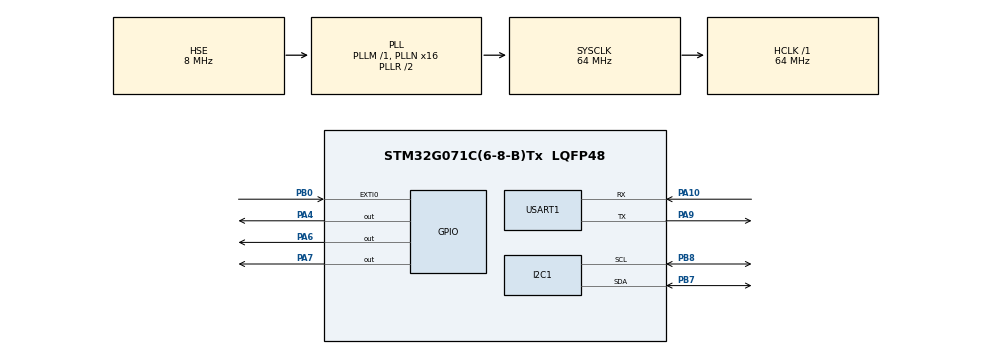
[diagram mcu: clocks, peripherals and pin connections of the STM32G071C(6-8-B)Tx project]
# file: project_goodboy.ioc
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I2C1.OwnAddress=0x12
I2C1.Timing=0x10B17DB5
Mcu.Family=STM32G0
Mcu.Name=STM32G071C(6-8-B)Tx
Mcu.Package=LQFP48
NVIC.EXTI0_1_IRQn=true\:0\:0\:false\:false\:true\:true\:true\:true
NVIC.I2C1_IRQn=true\:0\:0\:false\:false\:true\:true\:true\:true
NVIC.TIM3_IRQn=true\:0\:0\:false\:false\:true\:true\:true\:true
NVIC.TIM6_DAC_LPTIM1_IRQn=true\:3\:0\:false\:false\:true\:false\:true\:true
NVIC.TimeBase=TIM6_DAC_LPTIM1_IRQn
NVIC.TimeBaseIP=TIM6
PA10.Mode=Asynchronous
PA10.Signal=USART1_RX
PA13.Mode=Serial_Wire
PA13.Signal=SYS_SWDIO
PA14-BOOT0.Mode=Serial_Wire
PA14-BOOT0.Signal=SYS_SWCLK
PA4.Signal=GPIO_Output
PA6.GPIO_Speed=GPIO_SPEED_FREQ_HIGH
PA6.Signal=GPIO_Output
PA7.Signal=GPIO_Output
PA9.Mode=Asynchronous
PA9.Signal=USART1_TX
PB0.GPIO_ModeDefaultEXTI=GPIO_MODE_IT_FALLING
PB0.GPIO_PuPd=GPIO_PULLUP
PB0.Signal=GPXTI0
PB7.Mode=I2C
PB7.Signal=I2C1_SDA
PB8.Mode=I2C
PB8.Signal=I2C1_SCL
PF0-OSC_IN\ (PF0).Mode=HSE-External-Oscillator
PF0-OSC_IN\ (PF0).Signal=RCC_OSC_IN
PF1-OSC_OUT\ (PF1).Mode=HSE-External-Oscillator
PF1-OSC_OUT\ (PF1).Signal=RCC_OSC_OUT
ProjectManager.HeapSize=0x200
ProjectManager.StackSize=0x400
ProjectManager.TargetToolchain=STM32CubeIDE
RCC.ADCFreq_Value=64000000
RCC.AHBFreq_Value=64000000
RCC.CortexFreq_Value=64000000
RCC.EXTERNAL_CLOCK_VALUE=48000
RCC.HCLKFreq_Value=64000000
RCC.HSE_VALUE=8000000
RCC.HSI_VALUE=16000000
RCC.LSE_VALUE=32768
RCC.PLLN=16
RCC.PLLSourceVirtual=RCC_PLLSOURCE_HSE
RCC.SYSCLKFreq_VALUE=64000000
RCC.SYSCLKSource=RCC_SYSCLKSOURCE_PLLCLK
RCC.VCOOutputFreq_Value=128000000
USART1.VirtualMode-Asynchronous=VM_ASYNC
VP_SYS_VS_tim6.Mode=TIM6
VP_TIM3_VS_ClockSourceINT.Mode=Internal
board=custom

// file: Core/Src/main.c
/* USER CODE BEGIN Header */
/* USER CODE END Header */
#include "main.h"

/* USER CODE BEGIN PD */
#define CMD_STOP       0
#define CMD_DISPENSE   1

#define ENN_PIN        GPIO_PIN_4
#define ENN_PORT       GPIOA

#define STEP_PIN       GPIO_PIN_6
#define STEP_PORT      GPIOA

#define DIR_PIN        GPIO_PIN_7
#define DIR_PORT       GPIOA

#define BREAKBEAM_PIN  GPIO_PIN_0
#define BREAKBEAM_PORT GPIOB
/* USER CODE END PD */

I2C_HandleTypeDef hi2c1;

TIM_HandleTypeDef htim3;

UART_HandleTypeDef huart1;

/* USER CODE BEGIN PV */
typedef struct __attribute__((packed))
{
    uint8_t command;
    uint16_t speed;
} StepperCommand;

volatile StepperCommand rxCmd;

volatile uint8_t dispenseRequested = 0;
volatile uint8_t stopRequested = 0;
volatile uint8_t treatDetected = 0;

volatile uint32_t stepsRemaining = 0;
volatile uint8_t stepState = 0;
volatile uint8_t motorRunning = 0;
volatile uint16_t dispenseSpeed = 500;
/* USER CODE END PV */
/* USER CODE END PV */

void SystemClock_Config(void);
static void MX_GPIO_Init(void);
static void MX_USART1_UART_Init(void);
static void MX_TIM3_Init(void);
static void MX_I2C1_Init(void);

/* USER CODE BEGIN 0 */
void SetStepperSpeed(uint16_t speedHz)
{
    if(speedHz < 10)
        speedHz = 10;

    if(speedHz > 5000)
        speedHz = 5000;

    /*
     * TIM3 clock:
     * 64 MHz system clock
     * Prescaler = 63
     * Timer tick = 1 MHz
     */

    uint32_t timer_clk = HAL_RCC_GetPCLK1Freq() * 2UL;

    uint32_t period = (timer_clk / (speedHz * 2UL)) - 1UL;

    if (period > 65535) period = 65535;

    __HAL_TIM_SET_AUTORELOAD(&htim3, period);
    __HAL_TIM_SET_COUNTER(&htim3, 0);
}
void StartMove(uint32_t steps,
               GPIO_PinState dir)
{
	SetStepperSpeed(dispenseSpeed);

    HAL_GPIO_WritePin(DIR_PORT,
                      DIR_PIN,
                      dir);

    stepsRemaining = steps;

    motorRunning = 1;

    HAL_TIM_Base_Start_IT(&htim3);

    stepState = 0;

    HAL_GPIO_WritePin(STEP_PORT,
                      STEP_PIN,
                      GPIO_PIN_RESET);
}

void DispenseCycle(void)
{
    stopRequested = 0;
    treatDetected = 0;
    uint32_t MOVE_STEPS = 1600;

    HAL_GPIO_WritePin(ENN_PORT,
                      ENN_PIN,
                      GPIO_PIN_RESET);

    for(int i=0;i<1;i++)
    {
        StartMove(MOVE_STEPS, GPIO_PIN_SET);

        while(motorRunning)
        {
        }

        if(stopRequested || treatDetected)
            break;

        StartMove(MOVE_STEPS, GPIO_PIN_RESET);

        while(motorRunning)
        {
        }

        if(stopRequested || treatDetected)
            break;
    }

    HAL_GPIO_WritePin(ENN_PORT,
                      ENN_PIN,
                      GPIO_PIN_SET);
}
/* USER CODE END 0 */

int main(void)
{

  /* MCU Configuration--------------------------------------------------------*/

  /* Reset of all peripherals, Initializes the Flash interface and the Systick. */
  HAL_Init();

  /* Configure the system clock */
  SystemClock_Config();

  /* Initialize all configured peripherals */
  MX_GPIO_Init();
  MX_USART1_UART_Init();
  MX_TIM3_Init();
  MX_I2C1_Init();
  /* USER CODE BEGIN 2 */
  HAL_I2C_Slave_Receive_IT(
            &hi2c1,
            (uint8_t*)&rxCmd,
            sizeof(rxCmd));

    HAL_I2C_EnableListen_IT(&hi2c1);

    HAL_GPIO_WritePin(ENN_PORT,
                      ENN_PIN,
                      GPIO_PIN_SET);
  /* USER CODE END 2 */

  /* Infinite loop */
  /* USER CODE BEGIN WHILE */
  while(1){
      if (dispenseRequested && !motorRunning)
      {
          dispenseRequested = 0;
          DispenseCycle();
      }
  }
}
    /* USER CODE END WHILE */

void SystemClock_Config(void)
{
  RCC_OscInitTypeDef RCC_OscInitStruct = {0};
  RCC_ClkInitTypeDef RCC_ClkInitStruct = {0};

  /** Configure the main internal regulator output voltage
  */
  HAL_PWREx_ControlVoltageScaling(PWR_REGULATOR_VOLTAGE_SCALE1);

  /** Initializes the RCC Oscillators according to the specified parameters
  * in the RCC_OscInitTypeDef structure.
  */
  RCC_OscInitStruct.OscillatorType = RCC_OSCILLATORTYPE_HSE;
  RCC_OscInitStruct.HSEState = RCC_HSE_ON;
  RCC_OscInitStruct.PLL.PLLState = RCC_PLL_ON;
  RCC_OscInitStruct.PLL.PLLSource = RCC_PLLSOURCE_HSE;
  RCC_OscInitStruct.PLL.PLLM = RCC_PLLM_DIV1;
  RCC_OscInitStruct.PLL.PLLN = 16;
  RCC_OscInitStruct.PLL.PLLP = RCC_PLLP_DIV2;
  RCC_OscInitStruct.PLL.PLLQ = RCC_PLLQ_DIV2;
  RCC_OscInitStruct.PLL.PLLR = RCC_PLLR_DIV2;
  if (HAL_RCC_OscConfig(&RCC_OscInitStruct) != HAL_OK)
  {
    Error_Handler();
  }

  /** Initializes the CPU, AHB and APB buses clocks
  */
  RCC_ClkInitStruct.ClockType = RCC_CLOCKTYPE_HCLK|RCC_CLOCKTYPE_SYSCLK
                              |RCC_CLOCKTYPE_PCLK1;
  RCC_ClkInitStruct.SYSCLKSource = RCC_SYSCLKSOURCE_PLLCLK;
  RCC_ClkInitStruct.AHBCLKDivider = RCC_SYSCLK_DIV1;
  RCC_ClkInitStruct.APB1CLKDivider = RCC_HCLK_DIV1;

  if (HAL_RCC_ClockConfig(&RCC_ClkInitStruct, FLASH_LATENCY_2) != HAL_OK)
  {
    Error_Handler();
  }
}

static void MX_I2C1_Init(void)
{

  hi2c1.Instance = I2C1;
  hi2c1.Init.Timing = 0x10B17DB5;
  hi2c1.Init.OwnAddress1 = (0x42 << 1);
  hi2c1.Init.AddressingMode = I2C_ADDRESSINGMODE_7BIT;
  hi2c1.Init.DualAddressMode = I2C_DUALADDRESS_DISABLE;
  hi2c1.Init.OwnAddress2 = 0;
  hi2c1.Init.OwnAddress2Masks = I2C_OA2_NOMASK;
  hi2c1.Init.GeneralCallMode = I2C_GENERALCALL_DISABLE;
  hi2c1.Init.NoStretchMode = I2C_NOSTRETCH_DISABLE;
  if (HAL_I2C_Init(&hi2c1) != HAL_OK)
  {
    Error_Handler();
  }

  /** Configure Analogue filter
  */
  if (HAL_I2CEx_ConfigAnalogFilter(&hi2c1, I2C_ANALOGFILTER_ENABLE) != HAL_OK)
  {
    Error_Handler();
  }

  /** Configure Digital filter
  */
  if (HAL_I2CEx_ConfigDigitalFilter(&hi2c1, 0) != HAL_OK)
  {
    Error_Handler();
  }

}

static void MX_TIM3_Init(void)
{

  TIM_ClockConfigTypeDef sClockSourceConfig = {0};
  TIM_MasterConfigTypeDef sMasterConfig = {0};

  htim3.Instance = TIM3;
  htim3.Init.Prescaler = 0;
  htim3.Init.CounterMode = TIM_COUNTERMODE_UP;
  htim3.Init.Period = 65535;
  htim3.Init.ClockDivision = TIM_CLOCKDIVISION_DIV1;
  htim3.Init.AutoReloadPreload = TIM_AUTORELOAD_PRELOAD_DISABLE;
  if (HAL_TIM_Base_Init(&htim3) != HAL_OK)
  {
    Error_Handler();
  }
  sClockSourceConfig.ClockSource = TIM_CLOCKSOURCE_INTERNAL;
  if (HAL_TIM_ConfigClockSource(&htim3, &sClockSourceConfig) != HAL_OK)
  {
    Error_Handler();
  }
  sMasterConfig.MasterOutputTrigger = TIM_TRGO_RESET;
  sMasterConfig.MasterSlaveMode = TIM_MASTERSLAVEMODE_DISABLE;
  if (HAL_TIMEx_MasterConfigSynchronization(&htim3, &sMasterConfig) != HAL_OK)
  {
    Error_Handler();
  }

}

static void MX_USART1_UART_Init(void)
{

  huart1.Instance = USART1;
  huart1.Init.BaudRate = 115200;
  huart1.Init.WordLength = UART_WORDLENGTH_8B;
  huart1.Init.StopBits = UART_STOPBITS_1;
  huart1.Init.Parity = UART_PARITY_NONE;
  huart1.Init.Mode = UART_MODE_TX_RX;
  huart1.Init.HwFlowCtl = UART_HWCONTROL_NONE;
  huart1.Init.OverSampling = UART_OVERSAMPLING_16;
  huart1.Init.OneBitSampling = UART_ONE_BIT_SAMPLE_DISABLE;
  huart1.Init.ClockPrescaler = UART_PRESCALER_DIV1;
  huart1.AdvancedInit.AdvFeatureInit = UART_ADVFEATURE_NO_INIT;
  if (HAL_UART_Init(&huart1) != HAL_OK)
  {
    Error_Handler();
  }
  if (HAL_UARTEx_SetTxFifoThreshold(&huart1, UART_TXFIFO_THRESHOLD_1_8) != HAL_OK)
  {
    Error_Handler();
  }
  if (HAL_UARTEx_SetRxFifoThreshold(&huart1, UART_RXFIFO_THRESHOLD_1_8) != HAL_OK)
  {
    Error_Handler();
  }
  if (HAL_UARTEx_DisableFifoMode(&huart1) != HAL_OK)
  {
    Error_Handler();
  }

}

static void MX_GPIO_Init(void)
{
  GPIO_InitTypeDef GPIO_InitStruct = {0};

  /* GPIO Ports Clock Enable */
  __HAL_RCC_GPIOC_CLK_ENABLE();
  __HAL_RCC_GPIOF_CLK_ENABLE();
  __HAL_RCC_GPIOA_CLK_ENABLE();
  __HAL_RCC_GPIOB_CLK_ENABLE();
  __HAL_RCC_GPIOD_CLK_ENABLE();

  /*Configure GPIO pin Output Level */
  HAL_GPIO_WritePin(GPIOA, GPIO_PIN_4|GPIO_PIN_6|GPIO_PIN_7, GPIO_PIN_RESET);

  /*Configure GPIO pins : PC13 PC14 PC15 PC6
                           PC7 */
  GPIO_InitStruct.Pin = GPIO_PIN_13|GPIO_PIN_14|GPIO_PIN_15|GPIO_PIN_6
                          |GPIO_PIN_7;
  GPIO_InitStruct.Mode = GPIO_MODE_ANALOG;
  GPIO_InitStruct.Pull = GPIO_NOPULL;
  HAL_GPIO_Init(GPIOC, &GPIO_InitStruct);

  /*Configure GPIO pin : PF2 */
  GPIO_InitStruct.Pin = GPIO_PIN_2;
  GPIO_InitStruct.Mode = GPIO_MODE_ANALOG;
  GPIO_InitStruct.Pull = GPIO_NOPULL;
  HAL_GPIO_Init(GPIOF, &GPIO_InitStruct);

  /*Configure GPIO pins : PA0 PA1 PA2 PA3
                           PA5 PA8 PA11 PA12
                           PA15 */
  GPIO_InitStruct.Pin = GPIO_PIN_0|GPIO_PIN_1|GPIO_PIN_2|GPIO_PIN_3
                          |GPIO_PIN_5|GPIO_PIN_8|GPIO_PIN_11|GPIO_PIN_12
                          |GPIO_PIN_15;
  GPIO_InitStruct.Mode = GPIO_MODE_ANALOG;
  GPIO_InitStruct.Pull = GPIO_NOPULL;
  HAL_GPIO_Init(GPIOA, &GPIO_InitStruct);

  /*Configure GPIO pins : PA4 PA7 */
  GPIO_InitStruct.Pin = GPIO_PIN_4|GPIO_PIN_7;
  GPIO_InitStruct.Mode = GPIO_MODE_OUTPUT_PP;
  GPIO_InitStruct.Pull = GPIO_NOPULL;
  GPIO_InitStruct.Speed = GPIO_SPEED_FREQ_LOW;
  HAL_GPIO_Init(GPIOA, &GPIO_InitStruct);

  /*Configure GPIO pin : PA6 */
  GPIO_InitStruct.Pin = GPIO_PIN_6;
  GPIO_InitStruct.Mode = GPIO_MODE_OUTPUT_PP;
  GPIO_InitStruct.Pull = GPIO_NOPULL;
  GPIO_InitStruct.Speed = GPIO_SPEED_FREQ_HIGH;
  HAL_GPIO_Init(GPIOA, &GPIO_InitStruct);

  /*Configure GPIO pin : PB0 */
  GPIO_InitStruct.Pin = GPIO_PIN_0;
  GPIO_InitStruct.Mode = GPIO_MODE_IT_FALLING;
  GPIO_InitStruct.Pull = GPIO_PULLUP;
  HAL_GPIO_Init(GPIOB, &GPIO_InitStruct);

  /*Configure GPIO pins : PB1 PB2 PB10 PB11
                           PB12 PB13 PB14 PB15
                           PB3 PB4 PB5 PB6
                           PB9 */
  GPIO_InitStruct.Pin = GPIO_PIN_1|GPIO_PIN_2|GPIO_PIN_10|GPIO_PIN_11
                          |GPIO_PIN_12|GPIO_PIN_13|GPIO_PIN_14|GPIO_PIN_15
                          |GPIO_PIN_3|GPIO_PIN_4|GPIO_PIN_5|GPIO_PIN_6
                          |GPIO_PIN_9;
  GPIO_InitStruct.Mode = GPIO_MODE_ANALOG;
  GPIO_InitStruct.Pull = GPIO_NOPULL;
  HAL_GPIO_Init(GPIOB, &GPIO_InitStruct);

  /*Configure GPIO pins : PD0 PD1 PD2 PD3 */
  GPIO_InitStruct.Pin = GPIO_PIN_0|GPIO_PIN_1|GPIO_PIN_2|GPIO_PIN_3;
  GPIO_InitStruct.Mode = GPIO_MODE_ANALOG;
  GPIO_InitStruct.Pull = GPIO_NOPULL;
  HAL_GPIO_Init(GPIOD, &GPIO_InitStruct);

  /* EXTI interrupt init*/
  HAL_NVIC_SetPriority(EXTI0_1_IRQn, 0, 0);
  HAL_NVIC_EnableIRQ(EXTI0_1_IRQn);

}

/* USER CODE BEGIN 4 */
void HAL_GPIO_EXTI_Falling_Callback(uint16_t GPIO_Pin)
{
    if(GPIO_Pin == GPIO_PIN_0)
    {
        treatDetected = 1;
    }
}

void HAL_I2C_SlaveRxCpltCallback(I2C_HandleTypeDef *hi2c)
{
    switch(rxCmd.command)
    {
		case CMD_DISPENSE:

			dispenseSpeed = rxCmd.speed;

			if(dispenseSpeed < 100)
			    dispenseSpeed = 100;

			if(dispenseSpeed > 1000)
			    dispenseSpeed = 1000;

			SetStepperSpeed(dispenseSpeed);

			dispenseRequested = 1;

			break;

    	case CMD_STOP:
            stopRequested = 1;
            break;
    }

    HAL_I2C_Slave_Receive_IT(
        &hi2c1,
        (uint8_t*)&rxCmd,
        sizeof(rxCmd));
}

void HAL_I2C_ListenCpltCallback(I2C_HandleTypeDef *hi2c)
{
    HAL_I2C_EnableListen_IT(hi2c);
}
/* USER CODE END 4 */

void HAL_TIM_PeriodElapsedCallback(TIM_HandleTypeDef *htim)
{
  /* USER CODE BEGIN Callback 0 */
	if(htim->Instance == TIM3)
	    {
	        if(!motorRunning)
	            return;

	        if(stopRequested || treatDetected)
	        {
	            motorRunning = 0;
	            HAL_TIM_Base_Stop_IT(&htim3);
	            return;
	        }

	        if(stepsRemaining == 0)
	        {
	            motorRunning = 0;
	            HAL_TIM_Base_Stop_IT(&htim3);
	            return;
	        }

	        if(stepState == 0)
	        {
	            HAL_GPIO_WritePin(STEP_PORT,
	                              STEP_PIN,
	                              GPIO_PIN_SET);

	            stepState = 1;
	        }
	        else
	        {
	            HAL_GPIO_WritePin(STEP_PORT,
	                              STEP_PIN,
	                              GPIO_PIN_RESET);

	            stepState = 0;

	            stepsRemaining--;
	        }
	    }

  /* USER CODE END Callback 0 */
  if (htim->Instance == TIM6)
  {
    HAL_IncTick();
  }
}

void Error_Handler(void)
{
}
